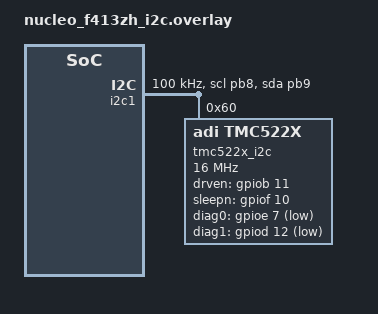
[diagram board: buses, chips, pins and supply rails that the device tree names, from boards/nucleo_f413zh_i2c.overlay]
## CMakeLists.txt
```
# SPDX-FileCopyrightText: Copyright (c) 2026 Cherrence Sarip <Cherrence.sarip@analog.com>
# SPDX-License-Identifier: Apache-2.0

cmake_minimum_required(VERSION 3.20.0)
find_package(Zephyr REQUIRED HINTS $ENV{ZEPHYR_BASE})
project(tmc522x)

target_sources(app PRIVATE src/main.c)
```

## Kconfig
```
# SPDX-FileCopyrightText: Copyright (c) 2026 Cherrence Sarip <Cherrence.sarip@analog.com>
# SPDX-License-Identifier: Apache-2.0

mainmenu "TMC522x sample application"

source "Kconfig.zephyr"
```

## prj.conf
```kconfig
CONFIG_STEPPER=y
CONFIG_LOG=y
CONFIG_STEPPER_LOG_LEVEL_INF=y
CONFIG_GPIO_LOG_LEVEL_WRN=y
CONFIG_CONSOLE=y
CONFIG_SERIAL=y
CONFIG_UART_CONSOLE=y
CONFIG_PRINTK=y
CONFIG_GPIO=y
```

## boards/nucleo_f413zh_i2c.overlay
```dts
/*
 * SPDX-FileCopyrightText: Copyright (c) 2026 Cherrence Sarip <Cherrence.sarip@analog.com>
 * SPDX-License-Identifier: Apache-2.0
 *
 * TMC522x Position/Velocity Test - I2C variant
 */

/ {
	aliases {
		stepper0 = &tmc522x_i2c;
	};
};

&i2c1 {
	status = "okay";
	pinctrl-0 = <&i2c1_scl_pb8 &i2c1_sda_pb9>;
	pinctrl-names = "default";
	clock-frequency = <I2C_BITRATE_STANDARD>;

	tmc522x_i2c: tmc522x@60 {
		compatible = "adi,tmc522x";
		reg = <0x60>;

		drven-gpios = <&gpiob 11 GPIO_ACTIVE_HIGH>;
		sleepn-gpios = <&gpiof 10 GPIO_ACTIVE_HIGH>;
		diag0-gpios = <&gpioe 7 GPIO_ACTIVE_LOW>;
		diag1-gpios = <&gpiod 12 GPIO_ACTIVE_LOW>;

		clock-frequency = <DT_FREQ_M(16)>;
		chopper-mode = "spreadcycle";
		chm-mode = "spreadcycle";
		micro-step-res = <16>;

		irun = <31>;
		ihold = <16>;

		toff = <5>;
		hstrt = <7>;
		hend = <3>;
		tbl = <3>;

		sgt = <0>;
		semin = <1>;
		semax = <2>;
		seup = <1>;
		sedn = <1>;
		sg-stop = <0>;

		vstart = <10>;
		vstop = <10>;
		v1 = <0>;
		v2 = <0>;
		vmax = <10000>;
		a1 = <10000>;
		a2 = <10000>;
		amax = <10000>;
		d1 = <10000>;
		d2 = <10000>;
		dmax = <10000>;
	};
};
```

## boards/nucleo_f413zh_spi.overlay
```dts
/*
 * SPDX-FileCopyrightText: Copyright (c) 2026 Cherrence Sarip <Cherrence.sarip@analog.com>
 * SPDX-License-Identifier: Apache-2.0
 *
 * TMC522x Position/Velocity Test - SPI variant
 */

/ {
	aliases {
		stepper0 = &tmc522x_spi;
	};
};

&spi1 {
	status = "okay";
	pinctrl-0 = <&spi1_sck_pa5 &spi1_miso_pa6 &spi1_mosi_pa7>;
	pinctrl-names = "default";
	cs-gpios = <&gpiof 12 (GPIO_ACTIVE_LOW | GPIO_PULL_UP)>;

	tmc522x_spi: tmc522x@0 {
		compatible = "adi,tmc522x";
		reg = <0>;
		spi-max-frequency = <DT_FREQ_M(4)>;

		drven-gpios = <&gpiob 11 GPIO_ACTIVE_HIGH>;
		sleepn-gpios = <&gpiof 10 GPIO_ACTIVE_HIGH>;
		diag0-gpios = <&gpioe 7 GPIO_ACTIVE_LOW>;
		diag1-gpios = <&gpiod 12 GPIO_ACTIVE_LOW>;

		clock-frequency = <DT_FREQ_M(16)>;
		chopper-mode = "spreadcycle";
		chm-mode = "spreadcycle";
		micro-step-res = <16>;

		irun = <31>;
		ihold = <16>;

		toff = <5>;
		hstrt = <7>;
		hend = <3>;
		tbl = <3>;

		sgt = <0>;
		semin = <1>;
		semax = <2>;
		seup = <1>;
		sedn = <1>;
		sg-stop = <0>;

		vstart = <10>;
		vstop = <10>;
		v1 = <0>;
		v2 = <0>;
		vmax = <10000>;
		a1 = <10000>;
		a2 = <10000>;
		amax = <10000>;
		d1 = <10000>;
		d2 = <10000>;
		dmax = <10000>;
	};
};
```

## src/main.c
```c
/*
 * SPDX-FileCopyrightText: Copyright (c) 2026 Cherrence Sarip <Cherrence.sarip@analog.com>
 * SPDX-License-Identifier: Apache-2.0
 */

#include <zephyr/device.h>
#include <zephyr/drivers/stepper/stepper.h>
#include <zephyr/drivers/stepper/stepper_ctrl.h>
#include <zephyr/kernel.h>

#include <zephyr/logging/log.h>
LOG_MODULE_REGISTER(tmc522x_sample, CONFIG_STEPPER_LOG_LEVEL);

static const struct device *stepper_ctrl_dev = DEVICE_DT_GET(DT_ALIAS(stepper));
static const struct device *stepper_drv_dev = DEVICE_DT_GET(DT_ALIAS(stepper_drv));

int32_t ping_pong_target_position = CONFIG_STEPS_PER_REV * CONFIG_PING_PONG_N_REV *
				    DT_PROP(DT_ALIAS(stepper_drv), micro_step_res);

K_SEM_DEFINE(steps_completed_sem, 0, 1);

void stepper_callback(const struct device *dev, const enum stepper_ctrl_event event,
		      void *user_data)
{
	ARG_UNUSED(user_data);
	switch (event) {
	case STEPPER_CTRL_EVENT_STEPS_COMPLETED:
		k_sem_give(&steps_completed_sem);
		break;
	default:
		break;
	}
}

int main(void)
{
	LOG_INF("Starting TMC522x stepper sample");

	if (!device_is_ready(stepper_ctrl_dev)) {
		LOG_ERR("Stepper controller %s is not ready", stepper_ctrl_dev->name);
		return -ENODEV;
	}
	if (!device_is_ready(stepper_drv_dev)) {
		LOG_ERR("Stepper driver %s is not ready", stepper_drv_dev->name);
		return -ENODEV;
	}

	stepper_ctrl_set_event_cb(stepper_ctrl_dev, stepper_callback, NULL);
	stepper_enable(stepper_drv_dev);

	enum stepper_micro_step_resolution micro_step_res;

	stepper_get_micro_step_res(stepper_drv_dev, &micro_step_res);
	LOG_INF("Microstep resolution: %d", micro_step_res);

	stepper_ctrl_set_reference_position(stepper_ctrl_dev, 0);
	stepper_ctrl_move_by(stepper_ctrl_dev, ping_pong_target_position);

	for (;;) {
		if (k_sem_take(&steps_completed_sem, K_FOREVER) == 0) {
			int32_t actual_position;
			int ret;

			ret = stepper_ctrl_get_actual_position(stepper_ctrl_dev,
							       &actual_position);
			if (ret == 0) {
				LOG_INF("Actual position: %d", actual_position);
			} else {
				LOG_ERR("Failed to get actual position");
			}

			ping_pong_target_position *= -1;
			stepper_ctrl_move_by(stepper_ctrl_dev, ping_pong_target_position);
		}
	}
	return 0;
}
```
